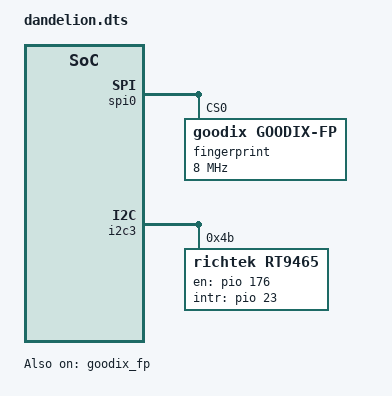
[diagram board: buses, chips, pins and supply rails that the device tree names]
/*
 * Copyright (C) 2019 MediaTek Inc.
 * Copyright (C) 2021 XiaoMi, Inc.
 *
 * This program is free software; you can redistribute it and/or modify
 * it under the terms of the GNU General Public License version 2 as
 * published by the Free Software Foundation.
 *
 * This program is distributed in the hope that it will be useful,
 * but WITHOUT ANY WARRANTY; without even the implied warranty of
 * MERCHANTABILITY or FITNESS FOR A PARTICULAR PURPOSE.
 * See http://www.gnu.org/licenses/gpl-2.0.html for more details.
 */

#include "custom_common.dtsi"
#include "touchscreen.dtsi"

/* FINGERPRINT start */
&spi0 {
	#address-cells = <1>;
	#size-cells = <0>;
	fingerprint@0 {
		compatible = "goodix,goodix-fp";
		reg = <0>;
		spi-max-frequency = <8000000>;
		netlink-event = <30>;
		status = "okay";
	};
};

&goodix_fp {
	pinctrl-names = "default", "reset_high", "reset_low";
	pinctrl-0 = <&fingerprint_default>;
	pinctrl-1 = <&fingerprint_reset_high>;
	pinctrl-2 = <&fingerprint_reset_low>;
	status = "okay";
};

&pio {
	fingerprint_default: state_default {
	};
	fingerprint_reset_high: state_reset_high {
		pins_cmd_dat {
			pinmux = <PINMUX_GPIO172__FUNC_GPIO172>;
			slew-rate = <1>;
			output-high;
		};
	};
	fingerprint_reset_low: state_reset_low {
		pins_cmd_dat {
			pinmux = <PINMUX_GPIO172__FUNC_GPIO172>;
			slew-rate = <1>;
			output-low;
		};
	};
};
/* FINGERPRINT end */

/* CHARGER start */

&i2c3 {
	rt9465@4b {
		compatible = "richtek,rt9465";
		reg = <0x4b>;
		interrupt-names = "wdtmri";
		status = "okay";
		charger_name = "secondary_chg";

		rt,en_gpio = <&pio 176 0x00>; /* GPIO */
		rt,en_gpio_num = <176>; /* direct defined GPIO num */
		rt,intr_gpio = <&pio 23 0x00>; /* GPIO */
		rt,intr_gpio_num = <23>; /* direct defined GPIO num */

		mivr = <4500000>;	/* uV */
		cv = <4550000>;		/* uA */
		ichg = <1500000>;	/* uA */
		ieoc = <700000>;	/* uA */
		safety_timer = <12>;		/* hour */
		en_st;
		en_wdt;
	};
};

&charger {
	charger_configuration = <1>;
};

&pe2 {
	/* dual charger in series */
	dcs_chg1_charger_current = <2000000>;
	dcs_chg2_charger_current = <2000000>;
};

&pdc {
	pd_vbus_upper_bound = <12000000>;

	/* dual charger in series */
	dcs_chg1_charger_current = <2000000>;
	dcs_chg2_charger_current = <2000000>;
};

&pe4 {
	/* dual charger in series*/
	dcs_chg1_charger_current = <2000000>;
	dcs_chg2_charger_current = <2000000>;
};

/* CHARGER end */

#include "mediatek/dandelion/cust.dtsi"
